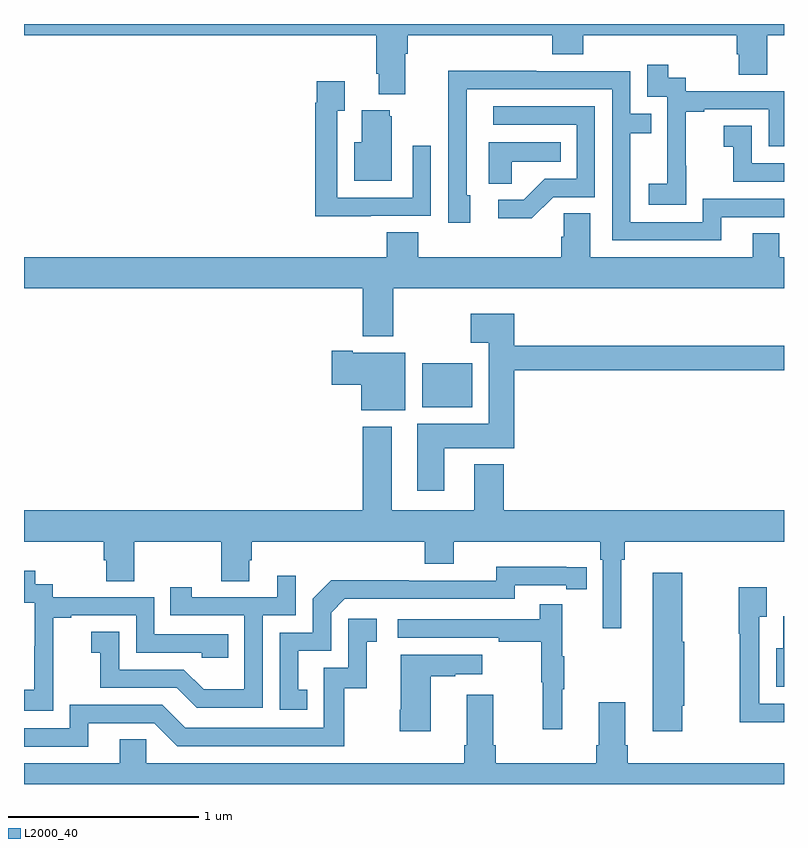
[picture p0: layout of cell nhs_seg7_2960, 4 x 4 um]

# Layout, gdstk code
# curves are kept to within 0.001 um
import gdstk
lib = gdstk.Library(unit=1e-6, precision=1e-09)
def R(c, l, rs):  # rectangles x0, y0, x1, y1
    for r in rs: c.add(gdstk.rectangle(r[:2], r[2:], *l))
def P(c, l, *ps):  # polygons
    for p in ps: c.add(gdstk.Polygon(p, *l))
L2000_40 = (2000, 40)

nhs_seg7_2960 = lib.new_cell('nhs_seg7_2960')
R(nhs_seg7_2960, L2000_40, [(303.095,1007.984,303.358,1008.214)])
P(nhs_seg7_2960, L2000_40, [(303.007,1009.844),(303.02,1009.844),(303.02,1009.94),(303.779,1009.94),(303.779,1009.841),(303.944,1009.841),(303.944,1009.94),(304.751,1009.94),(304.751,1009.842),(304.763,1009.842),(304.763,1009.732),(304.911,1009.732),(304.911,1009.94),(305,1009.94),(305,1010),(301,1010),(301,1009.94),(302.855,1009.94),(302.855,1009.738),(302.867,1009.738),(302.867,1009.631),(303.007,1009.631)],
  [(304.485,1009.255),(304.484,1009.255),(304.484,1009.539),(304.579,1009.539),(304.579,1009.551),(304.92,1009.551),(304.92,1009.356),(305,1009.356),(305,1009.647),(304.482,1009.647),(304.482,1009.716),(304.39,1009.716),(304.39,1009.786),(304.281,1009.786),(304.281,1009.617),(304.386,1009.617),(304.386,1009.388),(304.385,1009.388),(304.385,1009.159),(304.287,1009.159),(304.287,1009.049),(304.485,1009.049)],
  [(304.669,1008.984),(305,1008.984),(305,1009.08),(304.572,1009.08),(304.572,1008.957),(304.191,1008.957),(304.191,1009.426),(304.301,1009.426),(304.301,1009.527),(304.191,1009.527),(304.191,1009.752),(303.695,1009.752),(303.695,1009.754),(303.232,1009.754),(303.232,1009.447),(303.234,1009.447),(303.234,1008.954),(303.349,1008.954),(303.349,1009.098),(303.33,1009.098),(303.33,1009.656),(304.095,1009.656),(304.095,1008.861),(304.669,1008.861)],
  [(302.825,1008.99),(303.141,1008.99),(303.141,1009.36),(303.045,1009.36),(303.045,1009.086),(302.649,1009.086),(302.649,1009.543),(302.689,1009.543),(302.689,1009.699),(302.541,1009.699),(302.541,1009.586),(302.533,1009.586),(302.533,1008.989),(302.825,1008.989)],
  [(303.786,1009.089),(304.005,1009.089),(304.005,1009.566),(303.471,1009.566),(303.471,1009.47),(303.909,1009.47),(303.909,1009.185),(303.74,1009.185),(303.629,1009.074),(303.495,1009.074),(303.495,1008.977),(303.673,1008.977)],
  [(302.935,1009.515),(302.924,1009.515),(302.924,1009.546),(302.777,1009.546),(302.777,1009.378),(302.738,1009.378),(302.738,1009.175),(302.935,1009.175)],
  [(305,1009.266),(304.83,1009.266),(304.83,1009.465),(304.683,1009.465),(304.683,1009.355),(304.732,1009.355),(304.732,1009.17),(305,1009.17)],
  [(303.567,1009.274),(303.824,1009.274),(303.824,1009.378),(303.446,1009.378),(303.446,1009.159),(303.567,1009.159)],
  [(305,1008.772),(304.974,1008.772),(304.974,1008.899),(304.835,1008.899),(304.835,1008.772),(303.979,1008.772),(303.979,1009.004),(303.84,1009.004),(303.84,1008.881),(303.827,1008.881),(303.827,1008.772),(303.074,1008.772),(303.074,1008.905),(302.909,1008.905),(302.909,1008.772),(301,1008.772),(301,1008.608),(302.783,1008.608),(302.783,1008.356),(302.943,1008.356),(302.943,1008.608),(305,1008.608)],
  [(303.211,1007.768),(303.581,1007.768),(303.581,1008.178),(305,1008.178),(305,1008.307),(303.581,1008.307),(303.581,1008.475),(303.351,1008.475),(303.351,1008.323),(303.446,1008.323),(303.446,1007.896),(303.071,1007.896),(303.071,1007.544),(303.211,1007.544)],
  [(303.007,1008.271),(302.731,1008.271),(302.731,1008.279),(302.619,1008.279),(302.619,1008.101),(302.774,1008.101),(302.774,1007.966),(303.007,1007.966)],
  [(304.144,1007.18),(304.163,1007.18),(304.163,1007.276),(305,1007.276),(305,1007.44),(303.524,1007.44),(303.524,1007.683),(303.371,1007.683),(303.371,1007.44),(302.935,1007.44),(302.935,1007.881),(302.783,1007.881),(302.783,1007.44),(301,1007.44),(301,1007.276),(301.421,1007.276),(301.421,1007.178),(301.433,1007.178),(301.433,1007.068),(301.581,1007.068),(301.581,1007.276),(302.038,1007.276),(302.038,1007.068),(302.185,1007.068),(302.185,1007.178),(302.198,1007.178),(302.198,1007.276),(303.11,1007.276),(303.11,1007.159),(303.262,1007.159),(303.262,1007.276),(304.034,1007.276),(304.034,1007.18),(304.047,1007.18),(304.047,1006.821),(304.144,1006.821)],
  [(302.492,1006.497),(302.443,1006.497),(302.443,1006.701),(302.616,1006.701),(302.616,1006.902),(302.688,1006.974),(303.582,1006.974),(303.582,1007.046),(303.854,1007.046),(303.854,1007.026),(303.962,1007.026),(303.962,1007.142),(303.486,1007.143),(303.486,1007.07),(303.026,1007.07),(303.026,1007.072),(302.618,1007.072),(302.52,1006.974),(302.52,1006.797),(302.346,1006.797),(302.346,1006.392),(302.492,1006.392)],
  [(301.155,1006.591),(301.154,1006.591),(301.154,1006.875),(301.249,1006.875),(301.249,1006.887),(301.59,1006.887),(301.59,1006.692),(301.935,1006.692),(301.935,1006.665),(302.075,1006.665),(302.075,1006.788),(301.686,1006.788),(301.686,1006.983),(301.152,1006.983),(301.152,1007.052),(301.06,1007.052),(301.06,1007.122),(301,1007.122),(301,1006.953),(301.056,1006.953),(301.056,1006.724),(301.055,1006.724),(301.055,1006.495),(301,1006.495),(301,1006.385),(301.155,1006.385)],
  [(304.464,1006.413),(304.474,1006.413),(304.474,1006.749),(304.464,1006.749),(304.464,1007.113),(304.31,1007.113),(304.31,1006.278),(304.464,1006.278)],
  [(302.256,1006.887),(302.43,1006.887),(302.43,1007.095),(302.333,1007.095),(302.333,1006.983),(301.882,1006.983),(301.882,1007.035),(301.771,1007.035),(301.771,1006.887),(302.16,1006.887),(302.16,1006.498),(301.946,1006.498),(301.842,1006.602),(301.5,1006.602),(301.5,1006.801),(301.353,1006.801),(301.353,1006.691),(301.402,1006.691),(301.402,1006.506),(301.805,1006.506),(301.91,1006.401),(302.256,1006.401)],
  [(305,1006.422),(304.869,1006.422),(304.869,1006.879),(304.909,1006.879),(304.909,1007.035),(304.761,1007.035),(304.761,1006.79),(304.768,1006.79),(304.768,1006.325),(305,1006.325)],
  [(303.833,1006.499),(303.844,1006.499),(303.844,1006.673),(303.833,1006.673),(303.833,1006.945),(303.715,1006.945),(303.715,1006.866),(302.967,1006.866),(302.967,1006.77),(303.499,1006.77),(303.499,1006.75),(303.723,1006.75),(303.723,1006.536),(303.73,1006.536),(303.73,1006.287),(303.833,1006.287)],
  [(305,1006.882),(304.997,1006.882),(304.997,1006.714),(304.958,1006.714),(304.958,1006.511),(305,1006.511)],
  [(301.339,1006.32),(301.686,1006.32),(301.806,1006.2),(302.686,1006.2),(302.686,1006.503),(302.804,1006.503),(302.804,1006.749),(302.857,1006.749),(302.857,1006.87),(302.706,1006.87),(302.706,1006.611),(302.577,1006.611),(302.577,1006.296),(301.848,1006.296),(301.728,1006.416),(301.242,1006.416),(301.242,1006.293),(301,1006.293),(301,1006.197),(301.339,1006.197)],
  [(303.142,1006.567),(303.269,1006.567),(303.269,1006.577),(303.412,1006.577),(303.412,1006.681),(302.984,1006.681),(302.984,1006.39),(302.977,1006.39),(302.977,1006.278),(303.142,1006.278)],
  [(305,1006.108),(304.178,1006.108),(304.178,1006.204),(304.165,1006.204),(304.165,1006.429),(304.025,1006.429),(304.025,1006.204),(304.013,1006.204),(304.013,1006.108),(303.482,1006.108),(303.482,1006.204),(303.469,1006.204),(303.469,1006.471),(303.329,1006.471),(303.329,1006.204),(303.317,1006.204),(303.317,1006.108),(301.644,1006.108),(301.644,1006.235),(301.505,1006.235),(301.505,1006.108),(301,1006.108),(301,1006),(305,1006)])

lib.write_gds('nhs_seg7_2960.gds')
